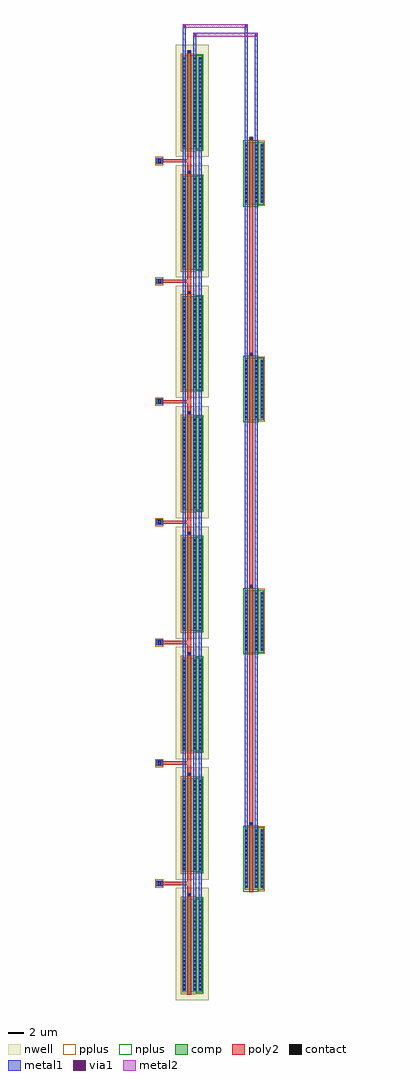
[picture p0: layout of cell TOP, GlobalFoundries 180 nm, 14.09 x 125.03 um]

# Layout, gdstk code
import gdstk
lib = gdstk.Library(unit=1e-6, precision=1e-09)
def R(c, l, rs):  # rectangles x0, y0, x1, y1
    for r in rs: c.add(gdstk.rectangle(r[:2], r[2:], *l))
def A(c, l, x, y, w, h, nx, ny, dx, dy):  # array of equal rectangles
    R(c, l, [(x+i*dx, y+j*dy, x+i*dx+w, y+j*dy+h) for i in range(nx) for j in range(ny)])
nwell = (21, 0)
comp = (22, 0)
poly2 = (30, 0)
pplus = (31, 0)
nplus = (32, 0)
contact = (33, 0)
metal1 = (34, 0)
via1 = (35, 0)
metal2 = (36, 0)

nfet = lib.new_cell('nfet')
R(nfet, comp, [(-0.42,0,2.01,8)])
R(nfet, poly2, [(0.19,-0.3,0.69,8.66)])
R(nfet, pplus, [(1.3,-0.17,2.18,8.17)])
R(nfet, nplus, [(-0.59,-0.24,1.3,8.24)])
A(nfet, contact, -0.32, 0.32, 0.22, 0.22, 1, 15, 0, 0.51)
A(nfet, contact, 0.98, 0.32, 0.22, 0.22, 1, 15, 0, 0.51)
A(nfet, contact, 1.69, 0.32, 0.22, 0.22, 1, 15, 0, 0.51)
R(nfet, contact, [(0.33,8.37,0.55,8.59)])
R(nfet, metal1, [(-0.4,0.24,-0.02,7.76), (0.9,0.24,1.28,7.76), (1.61,0.24,1.99,7.76), (0.25,8.29,0.63,8.67)])

pfet = lib.new_cell('pfet')
R(pfet, nwell, [(-1.32,-0.99,2.93,13.37)])
R(pfet, comp, [(-0.46,0,2.07,12)])
R(pfet, poly2, [(0.19,-0.3,0.69,12.68)])
R(pfet, pplus, [(-0.63,-0.24,1.34,12.24)])
R(pfet, nplus, [(1.34,-0.17,2.24,12.17)])
A(pfet, contact, -0.34, 0.28, 0.22, 0.22, 1, 23, 0, 0.51)
A(pfet, contact, 1, 0.28, 0.22, 0.22, 1, 23, 0, 0.51)
A(pfet, contact, 1.73, 0.28, 0.22, 0.22, 1, 23, 0, 0.51)
R(pfet, contact, [(0.33,12.38,0.55,12.6)])
R(pfet, metal1, [(-0.42,0.2,-0.04,11.8), (0.92,0.2,1.3,11.8), (1.65,0.2,2.03,11.8), (0.25,12.3,0.63,12.68)])

top = lib.new_cell('TOP')
A(top, poly2, -15.325, -99.69, 0.5, 3.2, 1, 6, 0, 15.43)
A(top, poly2, -18.48, -98.18, 3.655, 0.4, 1, 6, 0, 15.43)
R(top, poly2, [(-7.37,-90.555,-6.87,-68.41), (-7.37,-60.18,-6.87,-38.65), (-7.37,-30.41,-6.87,-11.025), (-15.325,-7.12,-14.825,-3.92), (-18.48,-5.61,-14.825,-5.21)])
A(top, pplus, -19.465, -98.51, 1.085, 1.045, 1, 3, 0, 15.425)
A(top, pplus, -19.465, -52.225, 1.085, 1.045, 1, 4, 0, 15.425)
A(top, contact, -19.14, -98.19, 0.485, 0.435, 1, 3, 0, 15.425)
A(top, contact, -19.14, -51.905, 0.485, 0.435, 1, 4, 0, 15.425)
A(top, metal1, -19.305, -98.32, 0.8, 0.695, 1, 3, 0, 15.425)
A(top, metal1, -19.305, -52.035, 0.8, 0.695, 1, 4, 0, 15.425)
R(top, metal1, [(-15.935,-111.72,-15.555,7.88), (-14.595,-111.72,-14.215,7.88), (-13.865,-111.72,-13.485,7.88), (-7.96,-98.56,-7.58,-3.265), (-6.66,-98.56,-6.28,-3.265), (-6.66,-3.69,-6.28,10.995), (-7.96,-3.685,-7.58,12.115), (-15.935,7.455,-15.555,12.115), (-14.595,7.46,-14.215,10.995)])
R(top, via1, [(-14.545,10.615,-14.26,10.885), (-6.605,10.615,-6.32,10.885), (-15.88,11.725,-15.595,11.995), (-7.9,11.74,-7.615,12.01)])
R(top, metal2, [(-14.595,10.505,-6.28,10.995), (-15.935,11.655,-7.58,12.115)])
top.add(gdstk.Reference(nfet, (-7.56,-98.8)))
top.add(gdstk.Reference(nfet, (-7.56,-68.41)))
top.add(gdstk.Reference(nfet, (-7.56,-38.65)))
top.add(gdstk.Reference(nfet, (-7.56,-11.025)))
top.add(gdstk.Reference(pfet, (-15.515,-3.92)))
top.add(gdstk.Reference(pfet, (-15.515,-19.35)))
top.add(gdstk.Reference(pfet, (-15.515,-34.77)))
top.add(gdstk.Reference(pfet, (-15.515,-50.2)))
top.add(gdstk.Reference(pfet, (-15.515,-65.63)))
top.add(gdstk.Reference(pfet, (-15.515,-81.06)))
top.add(gdstk.Reference(pfet, (-15.515,-96.49)))
top.add(gdstk.Reference(pfet, (-15.515,-111.92)))

lib.write_gds('TOP.gds')
